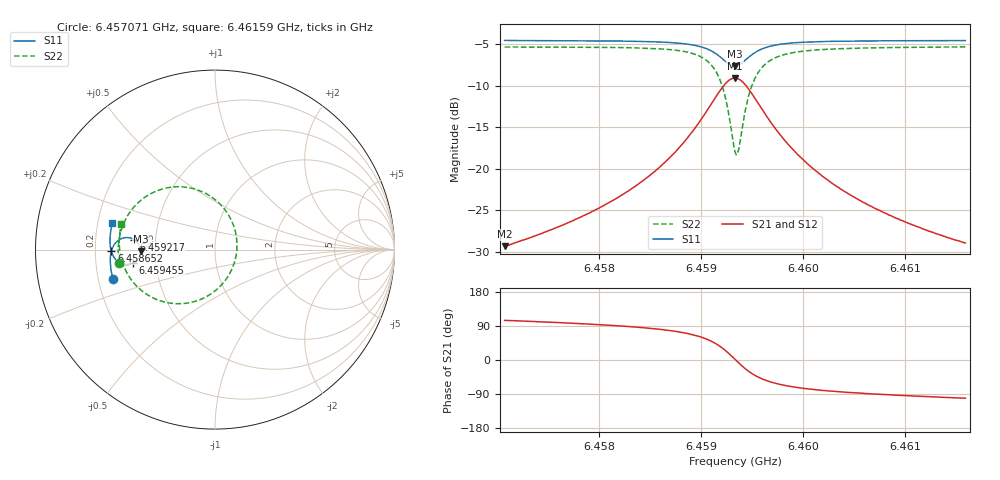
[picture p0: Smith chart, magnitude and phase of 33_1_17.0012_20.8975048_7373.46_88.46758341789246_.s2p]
#  HZ  S  RI  R  50.00
! Rohde & Schwarz Vector Network Analyzer
! Rohde-Schwarz,ZNB20-2Port,1311601062101988,3.16
! Created: UTC 3/20/2024, 10:53:28 PM
! freq[Hz]  re:S11  im:S11  re:S21  im:S21  re:S12  im:S12  re:S22  im:S22
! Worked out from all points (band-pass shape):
!   401 points, 6.457071 GHz to 6.46159 GHz, reference 50 ohm
!   highest |S21| = -9.08 dB at 6.45933 GHz (marker M1); lowest = -29.3 dB at 6.457071 GHz (marker M2)
!   |S21| within 3 dB of the highest: 6.459104 GHz to 6.459555 GHz (451.4 kHz wide, 0.00699 % of centre)
!   lowest |S11| = -7.7 dB at 6.45933 GHz (marker M3), VSWR 2.42, Z = 20.7 - j0.463 ohm
!   |S11| at or under -10 dB: nowhere
!   |S22| runs from -18.3 to -5.3 dB; largest |S21 - S12| = 0.014
!   S11 on the Smith chart (normalised r, x): 6.457071 GHz: 0.26, -0.13; 6.458652 GHz: 0.27, -0.01; 6.459217 GHz: 0.38, +0.05; 6.459455 GHz: 0.37, -0.07; 6.46159 GHz: 0.26, +0.12
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6.4570708e9  -0.5681 -0.1663  -0.00861 0.0332  -0.00684 0.0331  -0.5349 -0.0757
6.4578277e9  -0.5811 -0.0998  -0.00518 0.0513  -0.0026 0.0507  -0.5388 0.0141
6.458257e9  -0.5837 -0.0563  0.00138 0.0718  0.0047 0.0703  -0.529 0.0834
6.4585846e9  -0.5794 -0.0165  0.0155 0.1003  0.0194 0.0976  -0.5027 0.1593
6.4586524e9  -0.5771 -0.00698  0.0209 0.1089  0.025 0.1055  -0.4924 0.1795
6.4588445e9  -0.564 0.0235  0.0482 0.1402  0.0523 0.1351  -0.441 0.2488
6.4589913e9  -0.5407 0.0497  0.0946 0.1708  0.0978 0.1641  -0.355 0.313
6.4591269e9  -0.4958 0.0669  0.1838 0.1867  0.1846 0.1795  -0.1922 0.35
6.4592173e9  -0.4505 0.0558  0.275 0.1537  0.2754 0.1481  -0.0231 0.2959
6.4592851e9  -0.4212 0.0226  0.3358 0.0798  0.3382 0.0745  0.0921 0.1618
6.4593302e9  -0.4143 -0.00925  0.3515 0.0102  0.3555 0.00326  0.1226 0.0315
6.4593641e9  -0.4188 -0.0333  0.3447 -0.0429  0.3488 -0.0522  0.109 -0.0693
6.4594093e9  -0.435 -0.0598  0.315 -0.1032  0.3172 -0.1156  0.0481 -0.1832
6.4594545e9  -0.4575 -0.0762  0.2715 -0.1443  0.2707 -0.1579  -0.0395 -0.2575
6.4595449e9  -0.5017 -0.0831  0.1852 -0.1748  0.1789 -0.1865  -0.2115 -0.3015
6.4596127e9  -0.5261 -0.0755  0.1363 -0.1723  0.1281 -0.1814  -0.3059 -0.2851
6.4596918e9  -0.546 -0.0624  0.0963 -0.1598  0.0877 -0.166  -0.3804 -0.2491
6.4598499e9  -0.5677 -0.0346  0.0512 -0.131  0.0435 -0.1338  -0.4609 -0.1753
6.4600871e9  -0.5806 0.000962  0.022 -0.0989  0.016 -0.0994  -0.5084 -0.0918
6.4604487e9  -0.5852 0.0442  0.00534 -0.0703  0.00131 -0.0697  -0.53 -0.0081
6.4608441e9  -0.5833 0.0841  -0.00162 -0.0526  -0.00461 -0.0518  -0.5333 0.0558
6.4615897e9  -0.5715 0.1504  -0.00671 -0.0352  -0.00846 -0.0341  -0.5217 0.1449
